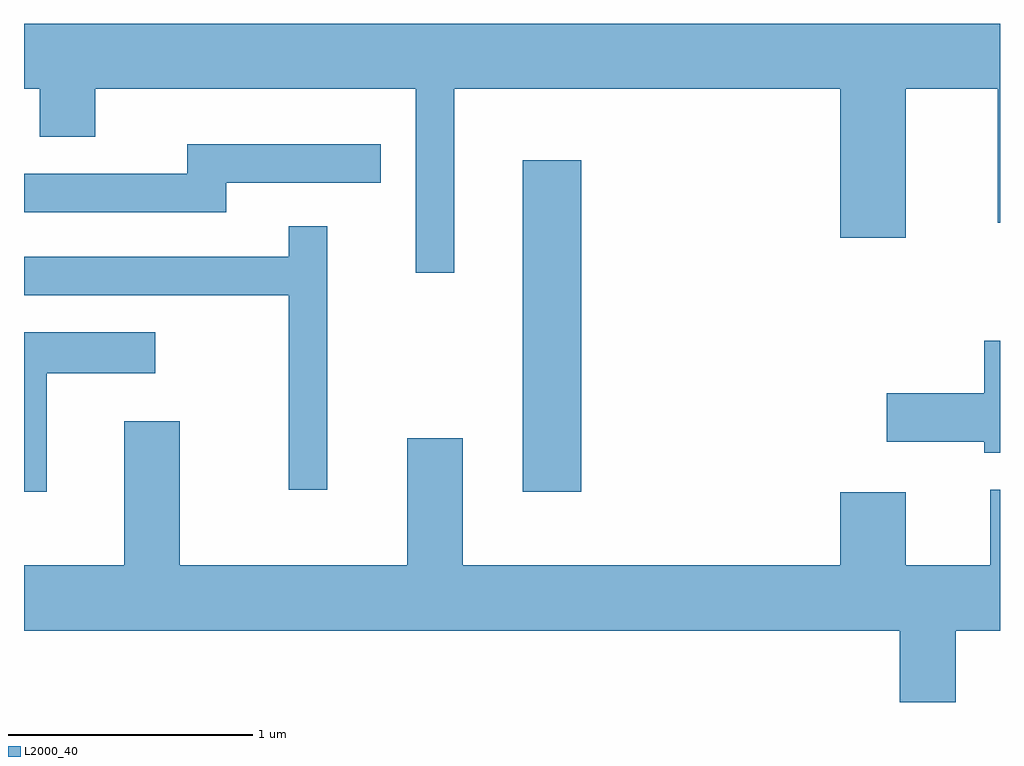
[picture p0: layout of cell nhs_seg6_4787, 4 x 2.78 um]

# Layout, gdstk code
import gdstk
lib = gdstk.Library(unit=1e-6, precision=1e-09)
def R(c, l, rs):  # rectangles x0, y0, x1, y1
    for r in rs: c.add(gdstk.rectangle(r[:2], r[2:], *l))
def P(c, l, *ps):  # polygons
    for p in ps: c.add(gdstk.Polygon(p, *l))
L2000_40 = (2000, 40)

nhs_seg6_4787 = lib.new_cell('nhs_seg6_4787')
R(nhs_seg6_4787, L2000_40, [(333.656,1575.026,333.894,1576.384)])
P(nhs_seg6_4787, L2000_40, [(333.374,1576.676),(334.956,1576.676),(334.956,1576.066),(335.224,1576.066),(335.224,1576.676),(335.601,1576.676),(335.601,1576.128),(335.611,1576.128),(335.611,1576.944),(331.611,1576.944),(331.611,1576.676),(331.676,1576.676),(331.676,1576.481),(331.904,1576.481),(331.904,1576.676),(333.216,1576.676),(333.216,1575.923),(333.374,1575.923)],
  [(332.439,1576.291),(333.073,1576.291),(333.073,1576.449),(332.281,1576.449),(332.281,1576.329),(331.611,1576.329),(331.611,1576.171),(332.439,1576.171)],
  [(332.854,1576.113),(332.696,1576.113),(332.696,1575.989),(331.611,1575.989),(331.611,1575.831),(332.696,1575.831),(332.696,1575.033),(332.854,1575.033)],
  [(331.704,1575.511),(332.148,1575.511),(332.148,1575.679),(331.611,1575.679),(331.611,1575.026),(331.704,1575.026)],
  [(335.611,1575.644),(335.546,1575.644),(335.546,1575.429),(335.146,1575.429),(335.146,1575.231),(335.546,1575.231),(335.546,1575.186),(335.611,1575.186)],
  [(335.429,1574.456),(335.611,1574.456),(335.611,1575.034),(335.571,1575.034),(335.571,1574.724),(335.224,1574.724),(335.224,1575.024),(334.956,1575.024),(334.956,1574.724),(333.409,1574.724),(333.409,1575.244),(333.181,1575.244),(333.181,1574.724),(332.249,1574.724),(332.249,1575.314),(332.021,1575.314),(332.021,1574.724),(331.611,1574.724),(331.611,1574.456),(335.201,1574.456),(335.201,1574.162),(335.429,1574.162)])

lib.write_gds('nhs_seg6_4787.gds')
